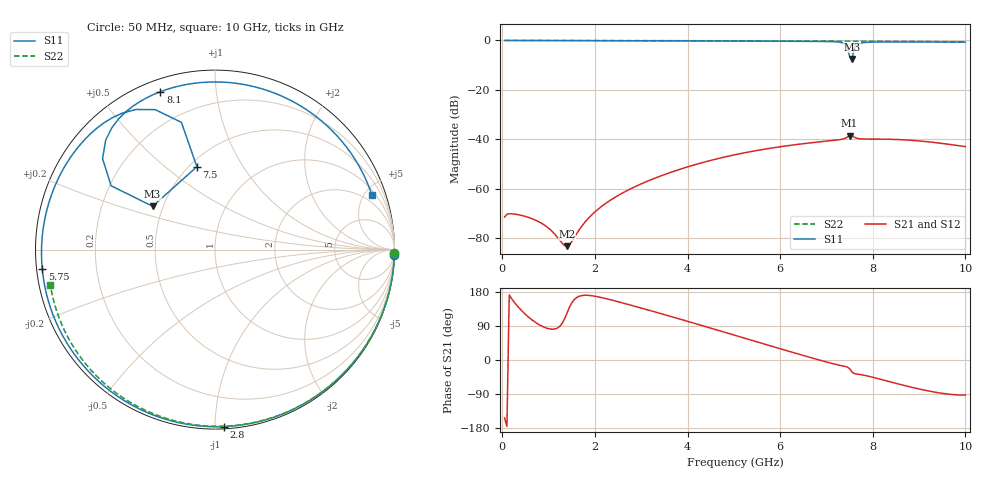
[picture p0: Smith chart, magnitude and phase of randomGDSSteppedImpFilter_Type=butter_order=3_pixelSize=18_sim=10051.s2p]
! freq	dB(S11)	phase(S11)	dB(S12)	phase(S12)
!  dB(S21)	phase(S21)	dB(S22)	phase(S22)
!S-par simulation data
#  GHz  S  DB  R 50
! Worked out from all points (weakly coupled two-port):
!   200 points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, 50 MHz to 10 GHz, reference 50 ohm
!   highest |S21| = -38.53 dB at 7.5 GHz (marker M1); lowest = -83.4 dB at 1.4 GHz (marker M2)
!   lowest |S11| = -7.5 dB at 7.55 GHz (marker M3), VSWR 2.47, Z = 21.9 + j12.9 ohm
!   |S11| at or under -10 dB: nowhere
!   |S22| runs from -0.6 to 0.0 dB; largest |S21 - S12| = 0
!   S11 on the Smith chart (normalised r, x): 50 MHz: 0, -70; 2.8 GHz: 0.01, -1.05; 5.75 GHz: 0.02, -0.06; 7.5 GHz: 0.54, +0.65; 8.1 GHz: 0.05, +0.71; 10 GHz: 1.31, +5.60
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0.05  -0.00 -1.6  -71.53 -153.1  -71.53 -153.1  -0.00 -1.0
0.55  -0.02 -17.8  -71.60 114.9  -71.60 114.9  -0.01 -10.7
1.2  -0.05 -38.5  -79.98 84.9  -79.98 84.9  -0.03 -23.2
1.4  -0.06 -44.8  -83.36 124.7  -83.36 124.7  -0.03 -27.0
1.55  -0.06 -49.4  -79.99 159.0  -79.99 159.0  -0.04 -29.8
1.75  -0.07 -55.6  -74.43 170.6  -74.43 170.6  -0.04 -33.6
2.8  -0.11 -87.1  -59.86 143.8  -59.86 143.8  -0.07 -52.9
3.4  -0.13 -104.6  -55.05 123.3  -55.05 123.3  -0.08 -63.6
5.05  -0.23 -152.3  -46.21 64.1  -46.21 64.1  -0.14 -91.5
5.75  -0.28 -173.6  -43.79 38.7  -43.79 38.7  -0.17 -102.7
6.7  -0.37 153.9  -41.40 4.9  -41.40 4.9  -0.23 -117.5
7.35  -0.95 119.4  -39.97 -15.4  -39.97 -15.4  -0.28 -127.4
7.45  -2.69 104.8  -39.18 -18.4  -39.18 -18.4  -0.28 -128.9
7.5  -6.51 102.3  -38.53 -23.2  -38.53 -23.2  -0.29 -129.6
7.55  -7.47 145.2  -38.54 -31.5  -38.54 -31.5  -0.29 -130.4
7.6  -3.36 148.4  -39.20 -35.8  -39.20 -35.8  -0.30 -131.1
7.65  -1.87 141.0  -39.62 -37.0  -39.62 -37.0  -0.30 -131.9
7.8  -0.86 126.3  -39.94 -39.8  -39.94 -39.8  -0.31 -134.2
8.1  -0.62 109.1  -39.96 -48.7  -39.96 -48.7  -0.34 -138.7
8.35  -0.59 97.0  -40.03 -56.8  -40.03 -56.8  -0.36 -142.5
9.1  -0.61 61.7  -40.89 -79.1  -40.89 -79.1  -0.44 -153.8
10  -0.67 19.2  -43.01 -92.6  -43.01 -92.6  -0.55 -167.8
